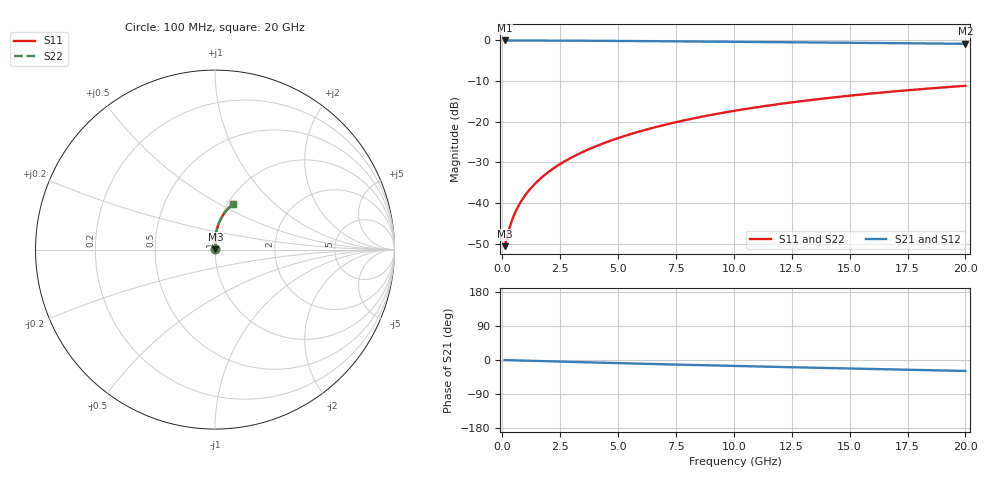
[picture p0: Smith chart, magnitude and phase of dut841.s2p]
! Touchstone file exported from HFSS 2024.1.0
!  File:  C:/UserFiles/LocalFiles/RDL_TSV_Batchsim/temp_RDL_top_841_1779855315.aedt
!  Generated:  12:17:23 PM May 27, 2026
!  Design:  RDL_top
!  Project:  temp_RDL_top_841_1779855315
!  Setup:  Setup1
!  Solution:  Sweep
! Variables:
!  dtsv = 10.80580581um
!  hbump = 3um
!  htsv = 93.57um
!  ldown = 100um
!  lrdl = 382.63um
!  p = 40
!  p1 = 50.84um
!  rhole = 1um
!  t = 450um
!  tdown = 3.915915916um
!  trdl = 2.41um
!  wdown = 15.38538539um
!  wrdl = 24.67um
# GHz S MA R 50.000000
! Terminal data exported
! Port[1] = Box2_T1
! Port[2] = Box2_T2
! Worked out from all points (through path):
!   200 points, 100 MHz to 20 GHz, reference 50 ohm
!   highest |S21| = -0.02 dB at 100 MHz (marker M1); lowest = -0.8 dB at 20 GHz (marker M2)
!   group delay of S21, straight-line fit = 3.97 ps
!   lowest |S11| = -50.6 dB at 100 MHz (marker M3), VSWR 1.01, Z = 50.3 + j0.135 ohm
!   |S11| at or under -10 dB: start of sweep to end of sweep
!   |S22| runs from -50.6 to -11.2 dB; largest |S21 - S12| = 4.5e-15
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0.1  0.002937 27.1  0.9974 -0.2  0.9974 -0.2  0.002937 27.1
! Gamma 0 0 0 0
! Port Impedance 50 0 50 0
0.3  0.00481 54.4  0.9971 -0.5  0.9971 -0.5  0.004811 54.4
0.4  0.0059 60.5  0.997 -0.7  0.997 -0.7  0.0059 60.5
0.5  0.007001 64.6  0.9968 -0.9  0.9968 -0.9  0.007001 64.6
0.6  0.008103 67.7  0.9967 -1.0  0.9967 -1.0  0.008103 67.7
0.8  0.01031 72.0  0.9964 -1.4  0.9964 -1.4  0.01031 72.0
1  0.01254 75.1  0.9961 -1.7  0.9961 -1.7  0.01254 75.1
1.2  0.0148 77.3  0.9958 -2.1  0.9958 -2.1  0.0148 77.3
1.7  0.02056 81.1  0.9949 -2.9  0.9949 -2.9  0.02056 81.1
2.2  0.0265 83.4  0.9937 -3.7  0.9937 -3.7  0.0265 83.4
2.8  0.03385 85.1  0.9921 -4.7  0.9921 -4.7  0.03385 85.1
3.5  0.04271 86.2  0.9899 -5.9  0.9899 -5.9  0.04271 86.2
4.2  0.05188 86.8  0.9873 -7.0  0.9873 -7.0  0.05189 86.8
5  0.06272 87.0  0.984 -8.3  0.984 -8.3  0.06273 87.1
5.9  0.07531 86.8  0.98 -9.6  0.98 -9.6  0.07532 86.9
6.8  0.08823 86.3  0.9757 -11.0  0.9757 -11.0  0.08825 86.3
8.4  0.1118 84.8  0.9678 -13.4  0.9678 -13.4  0.1118 84.8
10.1  0.1371 82.7  0.9593 -15.8  0.9593 -15.8  0.1371 82.7
11.7  0.1608 80.4  0.9511 -18.0  0.9511 -18.0  0.1609 80.5
13.4  0.1857 78.0  0.9424 -20.3  0.9424 -20.3  0.1858 78.0
16.7  0.2324 73.1  0.9254 -24.7  0.9254 -24.7  0.2325 73.1
20  0.2761 68.4  0.9082 -28.9  0.9082 -28.9  0.2762 68.4
